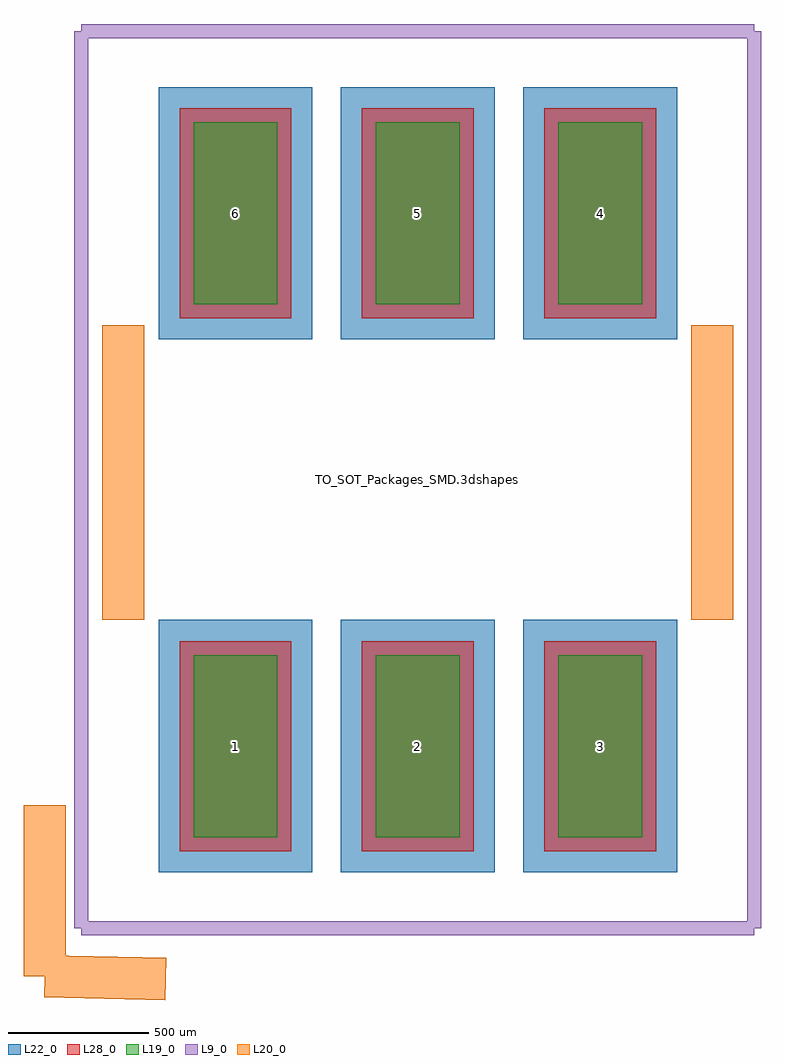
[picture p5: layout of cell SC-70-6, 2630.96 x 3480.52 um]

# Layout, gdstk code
import gdstk
lib = gdstk.Library(unit=1e-6, precision=1e-09)
def R(c, l, rs):  # rectangles x0, y0, x1, y1
    for r in rs: c.add(gdstk.rectangle(r[:2], r[2:], *l))
def A(c, l, x, y, w, h, nx, ny, dx, dy):  # array of equal rectangles
    R(c, l, [(x+i*dx, y+j*dy, x+i*dx+w, y+j*dy+h) for i in range(nx) for j in range(ny)])
L9_0 = (9, 0)
L19_0 = (19, 0)
L20_0 = (20, 0)
L22_0 = (22, 0)
L28_0 = (28, 0)

sc_70_6 = lib.new_cell('SC-70-6')
A(sc_70_6, L19_0, -799.63, -1274.61, 298.78, 649.3, 3, 2, 650.24, 1899.92)
A(sc_70_6, L22_0, -924.63, -1399.61, 548.78, 899.3, 3, 2, 650.24, 1899.92)
A(sc_70_6, L28_0, -849.63, -1324.61, 398.78, 749.3, 3, 2, 650.24, 1899.92)
sc_70_6.add(gdstk.FlexPath([(-1330.96,-1770.38),(-899.16,-1780.54)], 149.998, ends="flush", simple_path=True, layer=20, datatype=0))  # L20_0
sc_70_6.add(gdstk.FlexPath([(-1330.96,-1160.78),(-1330.96,-1770.38)], 149.998, ends="flush", simple_path=True, layer=20, datatype=0))  # L20_0
sc_70_6.add(gdstk.FlexPath([(-1050,550),(-1050,-500)], 149.998, ends="flush", simple_path=True, layer=20, datatype=0))  # L20_0
sc_70_6.add(gdstk.FlexPath([(1050,-500),(1050,550)], 149.998, ends="flush", simple_path=True, layer=20, datatype=0))  # L20_0
sc_70_6.add(gdstk.FlexPath([(1200,-1600),(-1200,-1600)], 50, ends="flush", simple_path=True, layer=9, datatype=0))  # L9_0
sc_70_6.add(gdstk.FlexPath([(-1200,-1600),(-1200,1600)], 50, ends="flush", simple_path=True, layer=9, datatype=0))  # L9_0
sc_70_6.add(gdstk.FlexPath([(-1200,1600),(1200,1600)], 50, ends="flush", simple_path=True, layer=9, datatype=0))  # L9_0
sc_70_6.add(gdstk.FlexPath([(1200,1600),(1200,-1600)], 50, ends="flush", simple_path=True, layer=9, datatype=0))  # L9_0
sc_70_6.add(gdstk.Label('TO_SOT_Packages_SMD.3dshapes/SC-70-6.wrl', (0,0), layer=12, texttype=0))
sc_70_6.add(gdstk.Label('6', (-650.24,949.96), layer=28, texttype=0))
sc_70_6.add(gdstk.Label('5', (0,949.96), layer=28, texttype=0))
sc_70_6.add(gdstk.Label('4', (650.24,949.96), layer=28, texttype=0))
sc_70_6.add(gdstk.Label('3', (650.24,-949.96), layer=28, texttype=0))
sc_70_6.add(gdstk.Label('2', (0,-949.96), layer=28, texttype=0))
sc_70_6.add(gdstk.Label('1', (-650.24,-949.96), layer=28, texttype=0))
sc_70_6.add(gdstk.Label('type', (40.64,-4191), layer=9, texttype=0))
sc_70_6.add(gdstk.Label('devicename', (10.16,3050.54), layer=9, texttype=0))

lib.write_gds('SC-70-6.gds')
